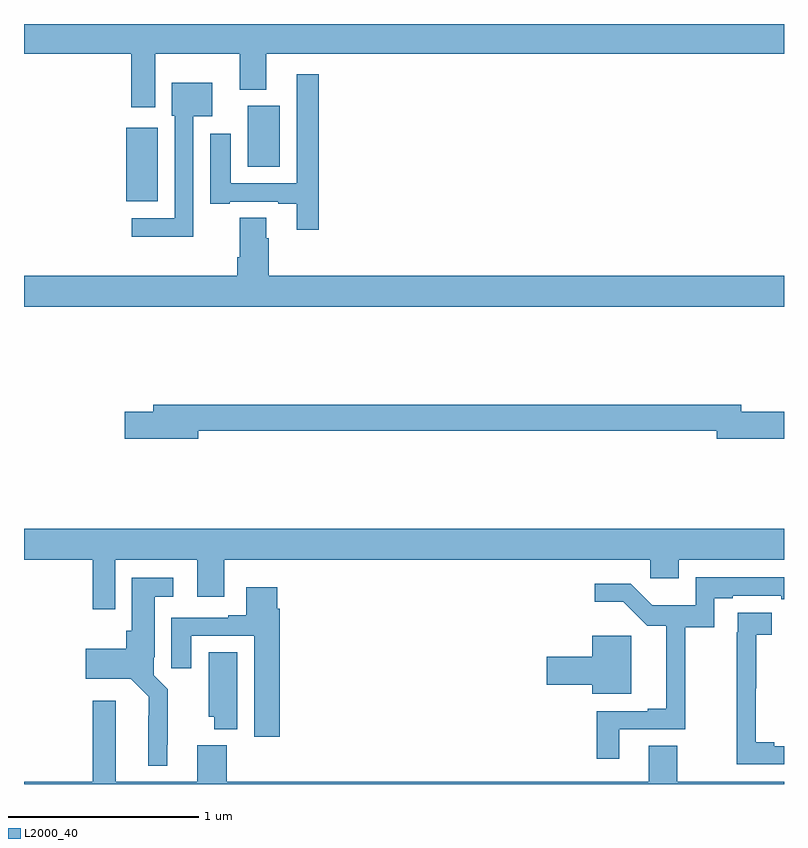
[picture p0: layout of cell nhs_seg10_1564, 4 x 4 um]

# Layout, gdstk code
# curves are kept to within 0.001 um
import gdstk
lib = gdstk.Library(unit=1e-6, precision=1e-09)
def R(c, l, rs):  # rectangles x0, y0, x1, y1
    for r in rs: c.add(gdstk.rectangle(r[:2], r[2:], *l))
def P(c, l, *ps):  # polygons
    for p in ps: c.add(gdstk.Polygon(p, *l))
L2000_40 = (2000, 40)

nhs_seg10_1564 = lib.new_cell('nhs_seg10_1564')
R(nhs_seg10_1564, L2000_40, [(193.538,1271.567,193.705,1271.953), (194.177,1271.75,194.347,1272.07)])
P(nhs_seg10_1564, L2000_40, [(193,1272.344),(193.565,1272.344),(193.565,1272.063),(193.69,1272.063),(193.69,1272.344),(194.135,1272.344),(194.135,1272.155),(194.275,1272.155),(194.275,1272.344),(197,1272.344),(197,1272.5),(193,1272.5)],
  [(194.552,1272.235),(194.436,1272.235),(194.436,1271.661),(194.089,1271.661),(194.089,1271.923),(193.979,1271.923),(193.979,1271.553),(194.083,1271.553),(194.083,1271.565),(194.339,1271.565),(194.339,1271.553),(194.435,1271.553),(194.435,1271.418),(194.552,1271.418)],
  [(193.89,1272.014),(193.99,1272.014),(193.99,1272.19),(193.778,1272.19),(193.778,1272.018),(193.794,1272.018),(193.794,1271.478),(193.566,1271.478),(193.566,1271.381),(193.89,1271.381)],
  [(197,1271.176),(194.288,1271.176),(194.288,1271.372),(194.275,1271.372),(194.275,1271.48),(194.135,1271.48),(194.135,1271.272),(194.123,1271.272),(194.123,1271.176),(193,1271.176),(193,1271.012),(197,1271.012)],
  [(193.918,1270.36),(196.646,1270.36),(196.646,1270.318),(197,1270.318),(197,1270.46),(196.774,1270.46),(196.774,1270.496),(193.679,1270.496),(193.679,1270.46),(193.53,1270.46),(193.53,1270.318),(193.918,1270.318)],
  [(193.479,1269.68),(193.913,1269.68),(193.913,1269.486),(194.053,1269.486),(194.053,1269.68),(196.296,1269.68),(196.296,1269.582),(196.447,1269.582),(196.447,1269.68),(197,1269.68),(197,1269.844),(193,1269.844),(193,1269.68),(193.363,1269.68),(193.363,1269.42),(193.479,1269.42)],
  [(196.132,1268.787),(196.481,1268.787),(196.481,1269.325),(196.632,1269.325),(196.632,1269.478),(196.729,1269.478),(196.729,1269.492),(196.985,1269.492),(196.985,1269.472),(197,1269.472),(197,1269.588),(196.536,1269.588),(196.536,1269.442),(196.307,1269.442),(196.194,1269.555),(196.005,1269.555),(196.005,1269.458),(196.153,1269.458),(196.279,1269.333),(196.379,1269.333),(196.379,1268.896),(196.283,1268.896),(196.283,1268.883),(196.015,1268.883),(196.015,1268.634),(196.132,1268.634)],
  [(193.753,1268.707),(193.757,1268.707),(193.757,1268.998),(193.683,1269.072),(193.683,1269.166),(193.687,1269.166),(193.687,1269.485),(193.786,1269.485),(193.786,1269.586),(193.568,1269.586),(193.568,1269.306),(193.538,1269.306),(193.538,1269.211),(193.326,1269.211),(193.326,1269.053),(193.563,1269.053),(193.656,1268.96),(193.655,1268.597),(193.753,1268.597)],
  [(194.345,1269.422),(194.332,1269.422),(194.332,1269.535),(194.171,1269.535),(194.171,1269.388),(194.075,1269.388),(194.075,1269.375),(193.775,1269.375),(193.775,1269.108),(193.879,1269.108),(193.879,1269.279),(194.213,1269.279),(194.213,1268.748),(194.345,1268.748)],
  [(197,1268.7),(196.948,1268.7),(196.948,1268.72),(196.852,1268.72),(196.852,1269.003),(196.854,1269.003),(196.854,1269.286),(196.936,1269.286),(196.936,1269.401),(196.756,1269.401),(196.756,1269.299),(196.75,1269.299),(196.75,1268.604),(197,1268.604)],
  [(196.195,1269.28),(195.992,1269.28),(195.992,1269.17),(195.75,1269.17),(195.75,1269.023),(195.992,1269.023),(195.992,1268.975),(196.195,1268.975)],
  [(194.122,1269.194),(193.973,1269.194),(193.973,1268.853),(194,1268.853),(194,1268.789),(194.122,1268.789)],
  [(197,1268.512),(196.437,1268.512),(196.437,1268.702),(196.289,1268.702),(196.289,1268.512),(194.066,1268.512),(194.066,1268.704),(193.913,1268.704),(193.913,1268.512),(193.483,1268.512),(193.483,1268.938),(193.361,1268.938),(193.361,1268.512),(193,1268.512),(193,1268.5),(197,1268.5)])

lib.write_gds('nhs_seg10_1564.gds')
